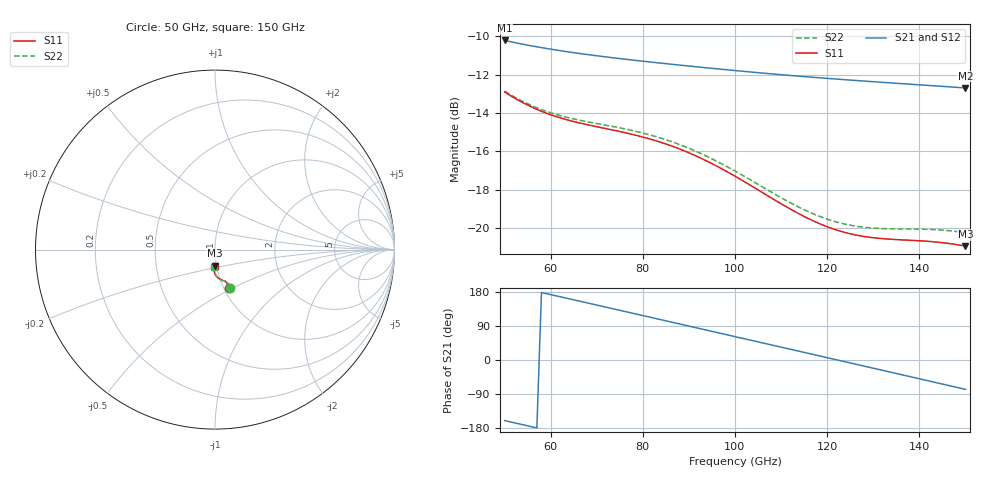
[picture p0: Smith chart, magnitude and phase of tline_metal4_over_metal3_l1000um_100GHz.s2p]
#  GHZ S DB R 50
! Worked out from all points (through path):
!   101 points, 50 GHz to 150 GHz, reference 50 ohm
!   highest |S21| = -10.22 dB at 50 GHz (marker M1); lowest = -12.7 dB at 150 GHz (marker M2)
!   group delay of S21, straight-line fit = 7.71 ps
!   lowest |S11| = -20.9 dB at 150 GHz (marker M3), VSWR 1.20, Z = 49.1 - j8.88 ohm
!   |S11| at or under -10 dB: start of sweep to end of sweep
!   |S22| runs from -20.2 to -12.9 dB; largest |S21 - S12| = 2.9e-13
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50  -12.90 -69.5  -10.22 -159.9  -10.22 -159.9  -12.86 -68.4
54  -13.46 -70.0  -10.42 -170.9  -10.42 -170.9  -13.40 -68.8
58  -13.91 -70.3  -10.59 178.1  -10.59 178.1  -13.82 -69.1
62  -14.25 -70.8  -10.75 167.0  -10.75 167.0  -14.13 -69.6
67  -14.56 -71.9  -10.92 153.2  -10.92 153.2  -14.41 -70.7
72  -14.81 -73.6  -11.08 139.4  -11.08 139.4  -14.64 -72.5
76  -15.02 -75.5  -11.19 128.4  -11.19 128.4  -14.82 -74.5
80  -15.25 -77.8  -11.30 117.3  -11.30 117.3  -15.04 -76.8
84  -15.53 -80.3  -11.40 106.2  -11.40 106.2  -15.31 -79.4
88  -15.88 -82.9  -11.50 95.0  -11.50 95.0  -15.65 -82.0
92  -16.29 -85.5  -11.60 83.9  -11.60 83.9  -16.04 -84.6
96  -16.76 -87.8  -11.69 72.8  -11.69 72.8  -16.51 -87.0
100  -17.29 -89.7  -11.79 61.7  -11.79 61.7  -17.02 -88.9
105  -18.00 -91.4  -11.90 47.8  -11.90 47.8  -17.72 -90.6
109  -18.58 -92.0  -11.98 36.7  -11.98 36.7  -18.27 -91.3
117  -19.62 -91.4  -12.14 14.5  -12.14 14.5  -19.25 -90.6
121  -20.01 -90.4  -12.21 3.4  -12.21 3.4  -19.61 -89.7
125  -20.29 -89.2  -12.28 -7.7  -12.28 -7.7  -19.84 -88.7
129  -20.47 -88.2  -12.35 -18.9  -12.35 -18.9  -19.98 -87.9
134  -20.58 -87.6  -12.43 -32.8  -12.43 -32.8  -20.04 -87.6
142  -20.69 -88.4  -12.56 -55.1  -12.56 -55.1  -20.06 -89.0
150  -20.94 -90.9  -12.69 -77.5  -12.69 -77.5  -20.24 -92.4
